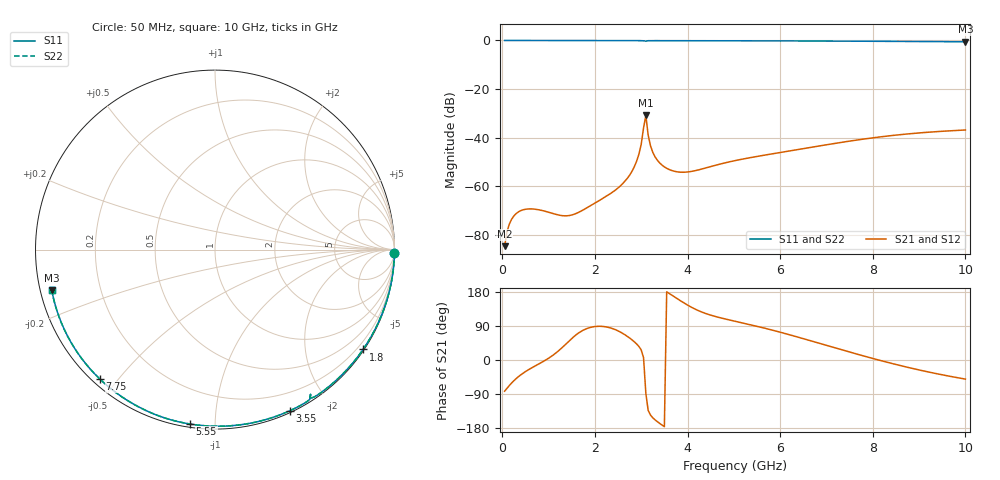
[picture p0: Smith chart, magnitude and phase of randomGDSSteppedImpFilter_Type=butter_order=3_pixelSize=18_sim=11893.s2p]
! freq	dB(S11)	phase(S11)	dB(S12)	phase(S12)
!  dB(S21)	phase(S21)	dB(S22)	phase(S22)
!S-par simulation data
#  GHz  S  DB  R 50
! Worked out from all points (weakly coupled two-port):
!   200 points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, 50 MHz to 10 GHz, reference 50 ohm
!   highest |S21| = -30.85 dB at 3.1 GHz (marker M1); lowest = -84.6 dB at 50 MHz (marker M2)
!   lowest |S11| = -0.6 dB at 10 GHz (marker M3), VSWR 30.92, Z = 1.64 - j6.16 ohm
!   |S11| at or under -10 dB: nowhere
!   |S22| runs from -0.6 to 0.0 dB; largest |S21 - S12| = 0
!   S11 on the Smith chart (normalised r, x): 50 MHz: open; 1.8 GHz: 0.03, -3.27; 3.55 GHz: 0.02, -1.57; 5.55 GHz: 0.02, -0.87; 7.75 GHz: 0.02, -0.45; 10 GHz: 0.03, -0.12
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0.05  -0.00 -1.0  -84.65 -82.3  -84.65 -82.3  -0.00 -1.0
0.25  -0.00 -4.8  -72.21 -54.7  -72.21 -54.7  -0.00 -4.8
0.45  -0.01 -8.6  -69.68 -34.7  -69.68 -34.7  -0.01 -8.6
1.35  -0.03 -25.7  -72.17 39.4  -72.17 39.4  -0.03 -25.7
1.75  -0.04 -33.1  -69.71 78.9  -69.71 78.9  -0.04 -33.1
1.8  -0.04 -34.0  -69.16 81.6  -69.16 81.6  -0.04 -34.0
2.45  -0.06 -45.9  -61.47 79.8  -61.47 79.8  -0.06 -45.9
2.75  -0.07 -51.3  -55.43 58.0  -55.43 58.0  -0.07 -51.3
2.95  -0.08 -55.0  -46.79 35.8  -46.79 35.8  -0.08 -55.0
3  -0.09 -56.1  -42.71 26.5  -42.71 26.5  -0.09 -56.1
3.1  -0.30 -56.6  -30.85 -88.1  -30.85 -88.1  -0.30 -56.6
3.15  -0.11 -57.7  -38.94 -133.1  -38.94 -133.1  -0.11 -57.7
3.2  -0.09 -58.8  -43.33 -145.3  -43.33 -145.3  -0.09 -58.8
3.4  -0.09 -62.5  -50.42 -167.5  -50.42 -167.5  -0.09 -62.5
3.55  -0.09 -65.1  -52.60 180.0  -52.60 180.0  -0.09 -65.1
4  -0.10 -72.8  -54.12 144.9  -54.12 144.9  -0.10 -72.8
5.05  -0.14 -90.1  -49.34 101.7  -49.34 101.7  -0.14 -90.1
5.55  -0.16 -98.1  -47.56 87.5  -47.56 87.5  -0.16 -98.1
6.7  -0.23 -115.9  -43.87 49.3  -43.87 49.3  -0.23 -115.9
7.75  -0.31 -131.7  -40.72 12.4  -40.72 12.4  -0.31 -131.7
8.35  -0.36 -140.7  -39.26 -7.2  -39.26 -7.2  -0.36 -140.7
10  -0.56 -165.9  -36.85 -50.4  -36.85 -50.4  -0.56 -165.9
